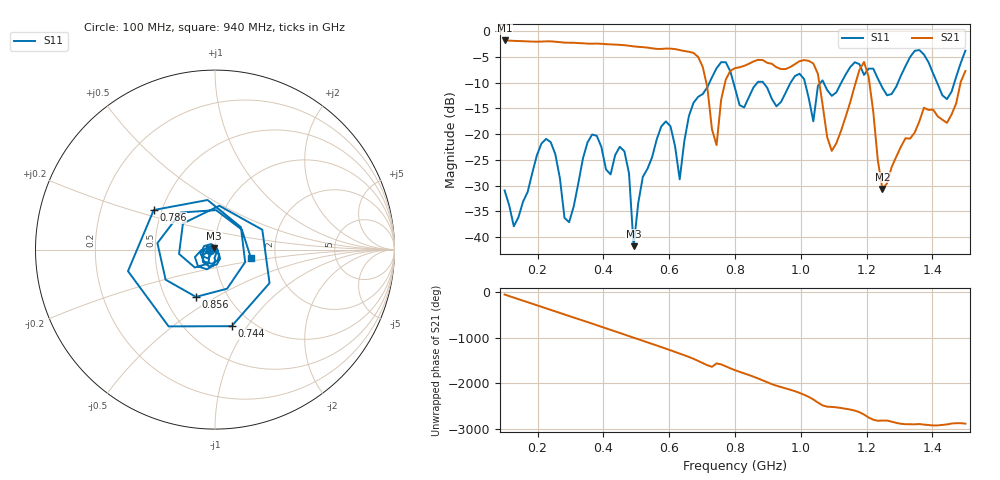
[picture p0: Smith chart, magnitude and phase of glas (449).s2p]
! NanoVNA-App
! Date: 2025-09-25 15:58:58
! Start: 100MHz Stop: 1,5GHz Points: 101
! S-Parameter data: F S11 S21 S12 S22
# Hz S RI R 50
!  Frequency  S11_Real  S11_Imag  S21_Real  S21_Imag  S12_Real  S12_Imag  S22_Real  S22_Imag
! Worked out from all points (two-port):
!   101 points, 100 MHz to 1.5 GHz, reference 50 ohm
!   highest |S21| = -1.80 dB at 100 MHz (marker M1); lowest = -30.7 dB at 1.248 GHz (marker M2)
!   |S21| within 3 dB of the highest: start of sweep to 684.4 MHz
!   lowest |S11| = -41.8 dB at 492 MHz (marker M3), VSWR 1.02, Z = 49.5 + j0.626 ohm
!   |S11| at or under -10 dB: start of sweep to 722.4 MHz; 795.4 MHz to 867.9 MHz (72.54 MHz wide, 8.72 % of centre); 886.1 MHz to 969 MHz (82.88 MHz wide, 8.94 % of centre) (the widest 3 of 7)
!   S12 and S22 are empty: the file has one direction only
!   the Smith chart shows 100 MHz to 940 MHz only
!   S11 on the Smith chart (normalised r, x): 100 MHz: 0.95, -0.01; 744 MHz: 0.81, -0.85; 786 MHz: 0.45, +0.24; 856 MHz: 0.71, -0.41; 940 MHz: 1.49, -0.15
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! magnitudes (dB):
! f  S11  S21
! 100 MHz  -30.9  -1.8
! 128 MHz  -37.9  -1.9
! 226 MHz  -20.9  -2.0
! 296 MHz  -37.1  -2.2
! 338 MHz  -24.7  -2.3
! 464 MHz  -23.3  -2.7
! 492 MHz  -41.8  -3.0
! 576 MHz  -18.5  -3.5
! 632 MHz  -28.8  -3.7
! 702 MHz  -12.2  -7.0
! 744 MHz  -7.2  -22.1
! 786 MHz  -7.8  -7.7
! 800 MHz  -11.1  -7.2
! 856 MHz  -10.9  -5.9
! 940 MHz  -13.7  -7.4
! 996 MHz  -8.3  -5.8
! 1.038 GHz  -17.5  -6.3
! 1.094 GHz  -12.6  -23.3
! 1.192 GHz  -8.5  -6.0
! 1.248 GHz  -11.0  -30.7
! 1.276 GHz  -12.2  -26.4
! 1.5 GHz  -3.8  -7.7
